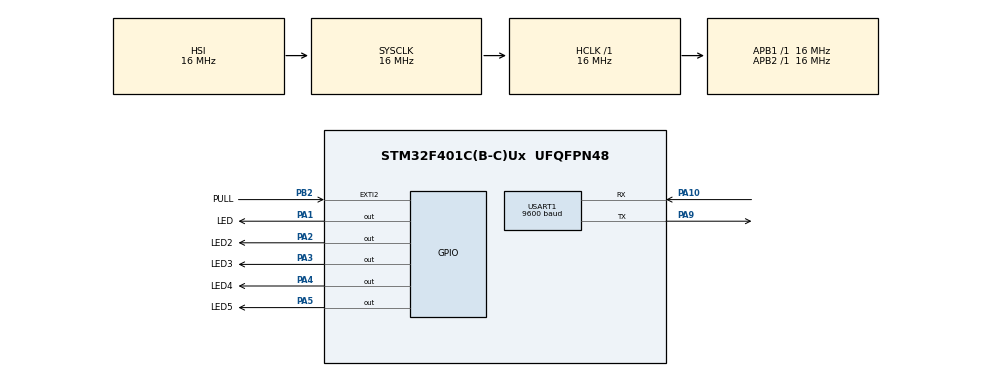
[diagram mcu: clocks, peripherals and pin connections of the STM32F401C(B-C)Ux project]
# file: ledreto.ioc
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Dma.Request0=USART1_RX
Dma.USART1_RX.0.Direction=DMA_PERIPH_TO_MEMORY
Dma.USART1_RX.0.FIFOMode=DMA_FIFOMODE_DISABLE
Dma.USART1_RX.0.Instance=DMA2_Stream2
Dma.USART1_RX.0.MemDataAlignment=DMA_MDATAALIGN_BYTE
Dma.USART1_RX.0.MemInc=DMA_MINC_ENABLE
Dma.USART1_RX.0.Mode=DMA_NORMAL
Dma.USART1_RX.0.PeriphDataAlignment=DMA_PDATAALIGN_BYTE
Dma.USART1_RX.0.PeriphInc=DMA_PINC_DISABLE
Dma.USART1_RX.0.Priority=DMA_PRIORITY_LOW
Mcu.Family=STM32F4
Mcu.Name=STM32F401C(B-C)Ux
Mcu.Package=UFQFPN48
NVIC.DMA2_Stream2_IRQn=true\:0\:0\:false\:false\:true\:false\:true\:true
NVIC.EXTI2_IRQn=true\:0\:0\:false\:false\:true\:true\:true\:true
NVIC.PriorityGroup=NVIC_PRIORITYGROUP_2
NVIC.TIM2_IRQn=true\:1\:0\:true\:false\:true\:true\:true\:true
NVIC.USART1_IRQn=true\:0\:0\:false\:false\:true\:true\:true\:true
PA1.GPIO_Label=LED
PA1.Signal=GPIO_Output
PA10.Mode=Asynchronous
PA10.Signal=USART1_RX
PA2.GPIO_Label=LED2
PA2.Signal=GPIO_Output
PA3.GPIO_Label=LED3
PA3.Signal=GPIO_Output
PA4.GPIO_Label=LED4
PA4.Signal=GPIO_Output
PA5.GPIO_Label=LED5
PA5.Signal=GPIO_Output
PA9.Mode=Asynchronous
PA9.Signal=USART1_TX
PB2.GPIO_Label=PULL
PB2.GPIO_ModeDefaultEXTI=GPIO_MODE_IT_FALLING
PB2.GPIO_PuPd=GPIO_PULLUP
PB2.Signal=GPXTI2
ProjectManager.HeapSize=0x200
ProjectManager.StackSize=0x400
ProjectManager.TargetToolchain=CMake
RCC.AHBFreq_Value=16000000
RCC.APB1Freq_Value=16000000
RCC.APB2Freq_Value=16000000
RCC.CortexFreq_Value=16000000
RCC.HSE_VALUE=25000000
RCC.HSI_VALUE=16000000
RCC.LSE_VALUE=32768
RCC.SYSCLKFreq_VALUE=16000000
RCC.VCOOutputFreq_Value=192000000
TIM2.AutoReloadPreload=TIM_AUTORELOAD_PRELOAD_ENABLE
TIM2.Period=99
TIM2.Prescaler=16000-1
USART1.BaudRate=9600
USART1.VirtualMode=VM_ASYNC
VP_TIM2_VS_ClockSourceINT.Mode=Internal
board=custom

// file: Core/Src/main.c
/* USER CODE BEGIN Header */
/**
  ******************************************************************************
  * @file           : main.c
  * @brief          : Main program body
  ******************************************************************************
  * @attention
  *
  * Copyright (c) 2026 STMicroelectronics.
  * All rights reserved.
  *
  * This software is licensed under terms that can be found in the LICENSE file
  * in the root directory of this software component.
  * If no LICENSE file comes with this software, it is provided AS-IS.
  *
  ******************************************************************************
  */
/* USER CODE END Header */
#include "main.h"

/* USER CODE BEGIN Includes */
#include "stdio.h"
#include "string.h"
#include "stdlib.h"
#include "stdbool.h"
#include "math.h"
#include "stdint.h"
#include "uart.h"
#include "UARTRX.h"
/* USER CODE END Includes */

TIM_HandleTypeDef htim2;

UART_HandleTypeDef huart1;
DMA_HandleTypeDef hdma_usart1_rx;

void SystemClock_Config(void);
static void MX_GPIO_Init(void);
static void MX_DMA_Init(void);
static void MX_TIM2_Init(void);
static void MX_USART1_UART_Init(void);

/* USER CODE BEGIN 0 */
void procesa_rx(void)
{
  char *msg = (char *)UARTRX1.trama_rx;   // texto recibido desde Hercules

  if (strstr(msg, "led=on") != NULL)
  {
    HAL_GPIO_WritePin(GPIOA, GPIO_PIN_5, GPIO_PIN_SET);     // enciende LED5 (PA5)
  }
  else if (strstr(msg, "led=off") != NULL)
  {
    HAL_GPIO_WritePin(GPIOA, GPIO_PIN_5, GPIO_PIN_RESET);   // apaga LED5 (PA5)
  }
}
/* USER CODE END 0 */

int main(void)
{

  /* MCU Configuration--------------------------------------------------------*/

  /* Reset of all peripherals, Initializes the Flash interface and the Systick. */
  HAL_Init();

  /* Configure the system clock */
  SystemClock_Config();

  /* Initialize all configured peripherals */
  MX_GPIO_Init();
  MX_DMA_Init();
  MX_TIM2_Init();
  MX_USART1_UART_Init();
  /* USER CODE BEGIN 2 */
  HAL_TIM_Base_Start_IT(&htim2);
  uartRX_it_idle_dma_init( &UARTRX1);
  /* USER CODE END 2 */

  /* Infinite loop */
  while (1)
  {

    /* USER CODE BEGIN 3 */
    HAL_GPIO_TogglePin(LED_GPIO_Port, LED_Pin);
    HAL_Delay(100);
    if (UARTRX1.flag_rx==1)
	  {
	     // uartx_write_text(&huart1, UARTRX1.trama_rx);
	     procesa_rx(); //procedimeinto donde se procesan los datos
		  uartRX_DMA_Re_init(&UARTRX1);
	  }
  }
  /* USER CODE END 3 */
}

void SystemClock_Config(void)
{
  RCC_OscInitTypeDef RCC_OscInitStruct = {0};
  RCC_ClkInitTypeDef RCC_ClkInitStruct = {0};

  /** Configure the main internal regulator output voltage
  */
  __HAL_RCC_PWR_CLK_ENABLE();
  __HAL_PWR_VOLTAGESCALING_CONFIG(PWR_REGULATOR_VOLTAGE_SCALE2);

  /** Initializes the RCC Oscillators according to the specified parameters
  * in the RCC_OscInitTypeDef structure.
  */
  RCC_OscInitStruct.OscillatorType = RCC_OSCILLATORTYPE_HSI;
  RCC_OscInitStruct.HSIState = RCC_HSI_ON;
  RCC_OscInitStruct.HSICalibrationValue = RCC_HSICALIBRATION_DEFAULT;
  RCC_OscInitStruct.PLL.PLLState = RCC_PLL_NONE;
  if (HAL_RCC_OscConfig(&RCC_OscInitStruct) != HAL_OK)
  {
    Error_Handler();
  }

  /** Initializes the CPU, AHB and APB buses clocks
  */
  RCC_ClkInitStruct.ClockType = RCC_CLOCKTYPE_HCLK|RCC_CLOCKTYPE_SYSCLK
                              |RCC_CLOCKTYPE_PCLK1|RCC_CLOCKTYPE_PCLK2;
  RCC_ClkInitStruct.SYSCLKSource = RCC_SYSCLKSOURCE_HSI;
  RCC_ClkInitStruct.AHBCLKDivider = RCC_SYSCLK_DIV1;
  RCC_ClkInitStruct.APB1CLKDivider = RCC_HCLK_DIV1;
  RCC_ClkInitStruct.APB2CLKDivider = RCC_HCLK_DIV1;

  if (HAL_RCC_ClockConfig(&RCC_ClkInitStruct, FLASH_LATENCY_0) != HAL_OK)
  {
    Error_Handler();
  }
}

static void MX_TIM2_Init(void)
{

  TIM_ClockConfigTypeDef sClockSourceConfig = {0};
  TIM_MasterConfigTypeDef sMasterConfig = {0};

  htim2.Instance = TIM2;
  htim2.Init.Prescaler = 16000-1;
  htim2.Init.CounterMode = TIM_COUNTERMODE_UP;
  htim2.Init.Period = 99;
  htim2.Init.ClockDivision = TIM_CLOCKDIVISION_DIV1;
  htim2.Init.AutoReloadPreload = TIM_AUTORELOAD_PRELOAD_ENABLE;
  if (HAL_TIM_Base_Init(&htim2) != HAL_OK)
  {
    Error_Handler();
  }
  sClockSourceConfig.ClockSource = TIM_CLOCKSOURCE_INTERNAL;
  if (HAL_TIM_ConfigClockSource(&htim2, &sClockSourceConfig) != HAL_OK)
  {
    Error_Handler();
  }
  sMasterConfig.MasterOutputTrigger = TIM_TRGO_RESET;
  sMasterConfig.MasterSlaveMode = TIM_MASTERSLAVEMODE_DISABLE;
  if (HAL_TIMEx_MasterConfigSynchronization(&htim2, &sMasterConfig) != HAL_OK)
  {
    Error_Handler();
  }

}

static void MX_USART1_UART_Init(void)
{

  huart1.Instance = USART1;
  huart1.Init.BaudRate = 9600;
  huart1.Init.WordLength = UART_WORDLENGTH_8B;
  huart1.Init.StopBits = UART_STOPBITS_1;
  huart1.Init.Parity = UART_PARITY_NONE;
  huart1.Init.Mode = UART_MODE_TX_RX;
  huart1.Init.HwFlowCtl = UART_HWCONTROL_NONE;
  huart1.Init.OverSampling = UART_OVERSAMPLING_16;
  if (HAL_UART_Init(&huart1) != HAL_OK)
  {
    Error_Handler();
  }

}

static void MX_DMA_Init(void)
{

  /* DMA controller clock enable */
  __HAL_RCC_DMA2_CLK_ENABLE();

  /* DMA interrupt init */
  /* DMA2_Stream2_IRQn interrupt configuration */
  HAL_NVIC_SetPriority(DMA2_Stream2_IRQn, 0, 0);
  HAL_NVIC_EnableIRQ(DMA2_Stream2_IRQn);

}

static void MX_GPIO_Init(void)
{
  GPIO_InitTypeDef GPIO_InitStruct = {0};

  /* GPIO Ports Clock Enable */
  __HAL_RCC_GPIOA_CLK_ENABLE();
  __HAL_RCC_GPIOB_CLK_ENABLE();

  /*Configure GPIO pin Output Level */
  HAL_GPIO_WritePin(GPIOA, LED_Pin|LED2_Pin|LED3_Pin|LED4_Pin
                          |LED5_Pin, GPIO_PIN_RESET);

  /*Configure GPIO pins : LED_Pin LED2_Pin LED3_Pin LED4_Pin
                           LED5_Pin */
  GPIO_InitStruct.Pin = LED_Pin|LED2_Pin|LED3_Pin|LED4_Pin
                          |LED5_Pin;
  GPIO_InitStruct.Mode = GPIO_MODE_OUTPUT_PP;
  GPIO_InitStruct.Pull = GPIO_NOPULL;
  GPIO_InitStruct.Speed = GPIO_SPEED_FREQ_LOW;
  HAL_GPIO_Init(GPIOA, &GPIO_InitStruct);

  /*Configure GPIO pin : PULL_Pin */
  GPIO_InitStruct.Pin = PULL_Pin;
  GPIO_InitStruct.Mode = GPIO_MODE_IT_FALLING;
  GPIO_InitStruct.Pull = GPIO_PULLUP;
  HAL_GPIO_Init(PULL_GPIO_Port, &GPIO_InitStruct);

  /* EXTI interrupt init*/
  HAL_NVIC_SetPriority(EXTI2_IRQn, 0, 0);
  HAL_NVIC_EnableIRQ(EXTI2_IRQn);

}

void Error_Handler(void)
{
  __disable_irq();
  while (1)
  {
  }
}
